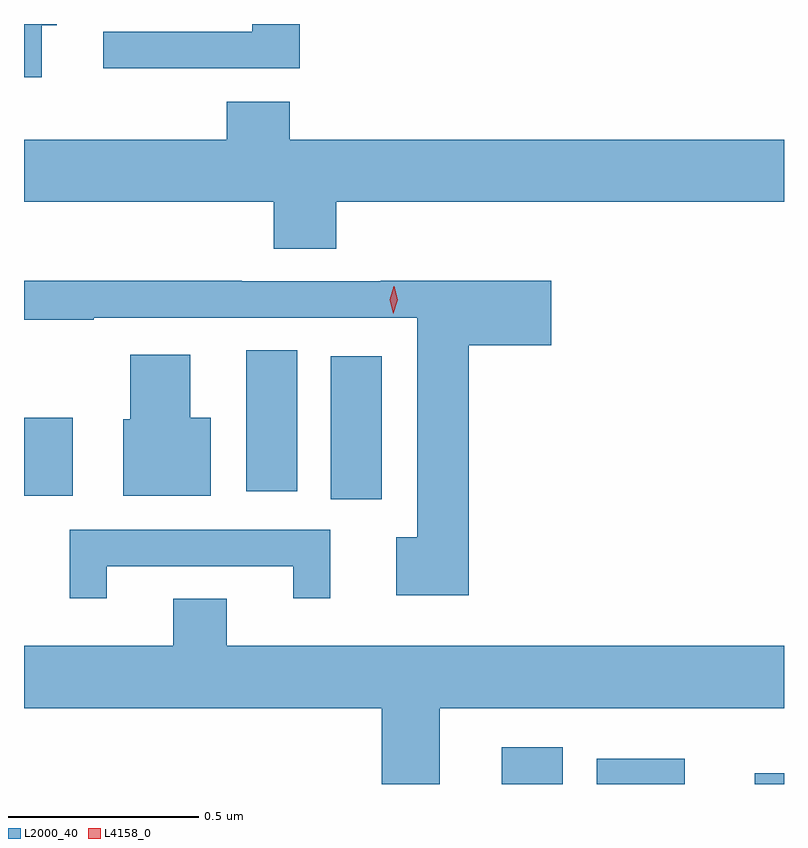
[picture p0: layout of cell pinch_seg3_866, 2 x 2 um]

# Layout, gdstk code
import gdstk
lib = gdstk.Library(unit=1e-6, precision=1e-09)
def R(c, l, rs):  # rectangles x0, y0, x1, y1
    for r in rs: c.add(gdstk.rectangle(r[:2], r[2:], *l))
def P(c, l, *ps):  # polygons
    for p in ps: c.add(gdstk.Polygon(p, *l))
L2000_40 = (2000, 40)
L4158_0 = (4158, 0)

pinch_seg3_866 = lib.new_cell('pinch_seg3_866')
R(pinch_seg3_866, L2000_40, [(679.736,702.048,679.897,702.145), (679.986,702.048,680.218,702.115), (680.402,702.048,680.479,702.076), (679.286,702.798,679.42,703.174), (678.479,702.806,678.607,703.012), (679.064,702.819,679.198,703.19)])
P(pinch_seg3_866, L2000_40, [(678.526,704.045),(678.565,704.045),(678.565,704.048),(678.479,704.048),(678.479,703.908),(678.526,703.908)],
  [(679.205,704.048),(679.079,704.048),(679.079,704.028),(678.687,704.028),(678.687,703.931),(679.205,703.931)],
  [(679.301,703.58),(680.479,703.58),(680.479,703.744),(679.178,703.744),(679.178,703.843),(679.013,703.843),(679.013,703.744),(678.479,703.744),(678.479,703.58),(679.136,703.58),(679.136,703.456),(679.301,703.456)],
  [(679.649,703.202),(679.867,703.202),(679.867,703.373),(679.418,703.373),(679.418,703.371),(679.052,703.371),(679.052,703.373),(678.479,703.373),(678.479,703.27),(678.662,703.27),(678.662,703.275),(679.514,703.275),(679.514,702.698),(679.458,702.698),(679.458,702.545),(679.649,702.545)],
  [(678.97,703.012),(678.916,703.012),(678.916,703.177),(678.758,703.177),(678.758,703.008),(678.74,703.008),(678.74,702.806),(678.97,702.806)],
  [(678.697,702.621),(679.187,702.621),(679.187,702.537),(679.285,702.537),(679.285,702.717),(678.599,702.717),(678.599,702.537),(678.697,702.537)],
  [(679.573,702.248),(680.479,702.248),(680.479,702.412),(679.012,702.412),(679.012,702.536),(678.872,702.536),(678.872,702.412),(678.479,702.412),(678.479,702.248),(679.421,702.248),(679.421,702.048),(679.573,702.048)])
P(pinch_seg3_866, L4158_0, [(679.451,703.286),(679.451,703.286),(679.442,703.322),(679.452,703.358),(679.452,703.358),(679.453,703.358),(679.462,703.322),(679.451,703.286)])

lib.write_gds('pinch_seg3_866.gds')
